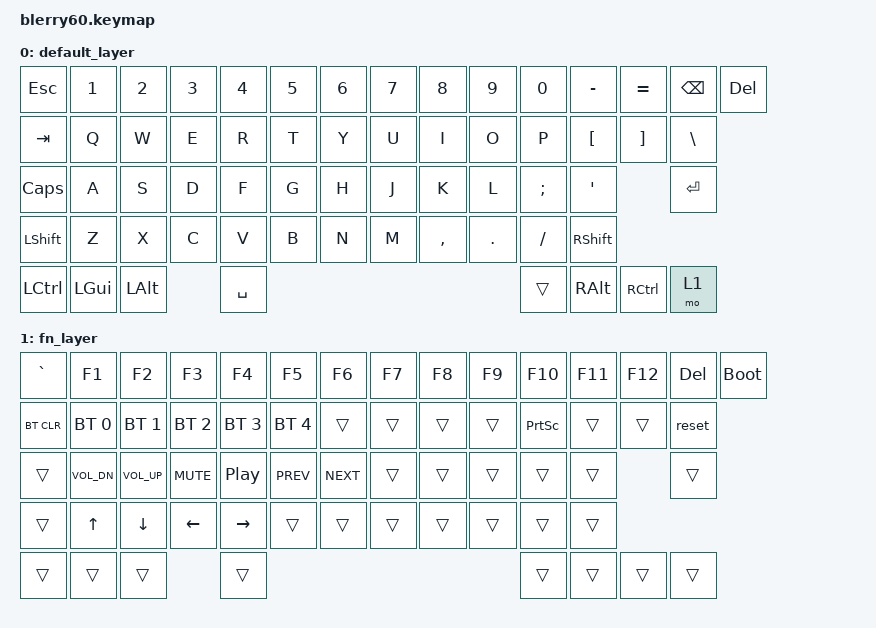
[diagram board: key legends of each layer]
#include <behaviors.dtsi>
#include <dt-bindings/zmk/keys.h>
#include <dt-bindings/zmk/bt.h>
#include <dt-bindings/zmk/outputs.h>
#include <dt-bindings/zmk/rgb.h>
#include <dt-bindings/zmk/ext_power.h>

// See: layout.h for layout options

/ {
	keymap {
		compatible = "zmk,keymap";

		default_layer {
// -----------------------------------------------------------------------------------------
//   | ESC   | 1     | 2     | 3     | 4     | 5     | 6     | 7     | 8     | 9     | 0     | -     | =     | BACKSPACE     |	DELETE 
//   | TAB   | Q     | W     | E     | R     | T     | Y     | U     | I     | O     | P     | [     | ]     | \             |  
//   | CAPS  | A     | S     | D     | F     | G     | H     | J     | K     | L     | ;     | '     |         ENTER         |
//   | SHIFT | Z     | X     | C     | V     | B     | N     | M     | ,     | .     | /     |                SHIFT 	     |
//   | LCTRL  | LGUI   | LALT   |                 SPACE                                              | RALT   | RGUI | RCTRL |  FN

			bindings = <
    &kp ESC          &kp NUM_1        &kp NUM_2     &kp NUM_3     &kp NUM_4     &kp NUM_5        &kp NUM_6        &kp NUM_7        &kp NUM_8        &kp NUM_9        &kp NUM_0        &kp MINUS        &kp EQL          &kp BSPC	&kp DEL
    &kp TAB          &kp Q            &kp W         &kp E         &kp R         &kp T            &kp Y            &kp U            &kp I            &kp O            &kp P            &kp LBKT         &kp RBKT         &kp BSLH
    &kp CAPS         &kp A            &kp S         &kp D         &kp F         &kp G            &kp H            &kp J            &kp K            &kp L            &kp SCLN         &kp QUOT                          &kp ENTER
    &kp LSHFT        &kp Z            &kp X         &kp C         &kp V         &kp B            &kp N            &kp M            &kp CMMA         &kp DOT          &kp FSLH         &kp RSHFT                         
    &kp LCTRL        &kp LGUI         &kp LALT                    &kp SPACE                                                                                          &trans           &kp RALT         &kp RCTRL       	&mo 1 
			>;
		};

		fn_layer {
// -----------------------------------------------------------------------------------------
//   | GRAVE | F1    | F2    | F3    | F4    | F5    | F6    | F7    | F8    | F9    | F10   | F11   | F12   |   DEL  | BOOTLOADER |
//   | BT_CLR|PROF 0 |PROF 1 |PROF 2 |PROF 3 |PROF 4 | TRANS | TRANS | PAUSE | TRANS | PRSCRN | TRANS | TRANS |  RESET |       
//   | TRANS | TRANS | TRANS | TRANS | TRANS | TRANS | TRANS | TRANS | TRANS | TRANS | TRANS | TRANS |      TRANS     |  
//   | SHIFT |   UP  |  DOWN |  LEFT | RIGHT | TRANS | TRANS | TRANS | TRANS | TRANS | TRANS | TRANS | TRANS |  TRANS |
//   | TRANS | TRANS | TRANS |                        TRANS |                                  TRANS | TRANS |  TRANS |

			bindings = <
    &kp GRAVE        &kp F1           &kp F2           &kp F3          &kp F4          &kp F5        &kp F6           &kp F7           &kp F8           &kp F9           &kp F10          &kp F11          &kp F12       &kp DEL	&bootloader
    &bt BT_CLR       &bt BT_SEL 0     &bt BT_SEL 1     &bt BT_SEL 2    &bt BT_SEL 3    &bt BT_SEL 4  &trans           &trans           &trans           &trans           &kp PSCRN        &trans           &trans 	 &reset      
    &trans           &kp C_VOL_DN     &kp C_VOL_UP     &kp C_MUTE      &kp C_PP        &kp C_PREV    &kp C_NEXT       &trans           &trans           &trans		 &trans           &trans                         &trans
    &trans           &kp UP           &kp DOWN         &kp LEFT        &kp RIGHT       &trans        &trans           &trans           &trans		&trans		 &trans		  &trans           
    &trans           &trans           &trans                           &trans                                                                                            &trans           &trans           &trans        &trans
			>;
		};

	};
};
